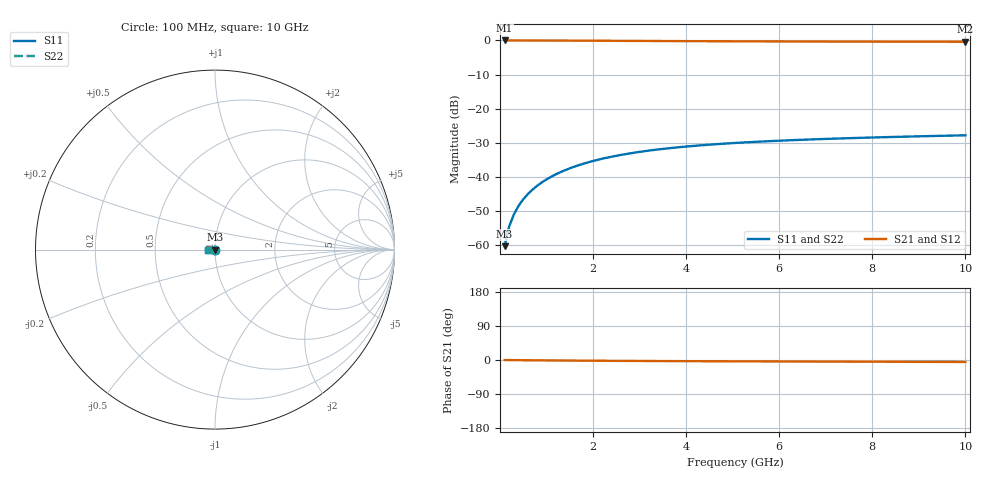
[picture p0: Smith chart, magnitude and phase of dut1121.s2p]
! Touchstone file exported from HFSS 2024.1.0
!  File:  C:/UserFiles/LocalFiles/RDL_TSV_Batchsim/temp_TSV1_1121_1780068973.aedt
!  Generated:  11:41:45 PM May 29, 2026
!  Design:  TSV1
!  Project:  temp_TSV1_1121_1780068973
!  Setup:  Setup1
!  Solution:  Sweep
! Variables:
!  dtsv = 7.46um
!  hbump = 3um
!  htsv = 80.92um
!  lrdl = 252.1521522um
!  p = 40
!  p1 = 40.18um
!  t = 500um
!  trdl = 3um
!  wrdl = 24.89489489um
# GHz S MA R 50.000000
! Terminal data exported
! Port[1] = TSV22_T1
! Port[2] = TSV22_T2
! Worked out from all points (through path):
!   100 points, 100 MHz to 10 GHz, reference 50 ohm
!   highest |S21| = 0.00 dB at 100 MHz (marker M1); lowest = -0.4 dB at 10 GHz (marker M2)
!   lowest |S11| = -60.3 dB at 100 MHz (marker M3), VSWR 1.00, Z = 50 - j0.0938 ohm
!   |S11| at or under -10 dB: start of sweep to end of sweep
!   |S22| runs from -60.3 to -27.8 dB; largest |S21 - S12| = 6.4e-15
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0.1  0.0009668 -75.8  0.9997 -0.1  0.9997 -0.1  0.0009668 -75.8
! Gamma 0 0 0 0
! Port Impedance 50 0 50 0
0.2  0.001897 -85.0  0.9996 -0.2  0.9996 -0.2  0.001897 -85.0
0.3  0.002833 -89.3  0.9995 -0.3  0.9995 -0.3  0.002833 -89.3
0.4  0.003767 -92.2  0.9993 -0.4  0.9993 -0.4  0.003767 -92.2
0.5  0.004695 -94.6  0.999 -0.5  0.999 -0.5  0.004695 -94.6
0.6  0.005616 -96.8  0.9987 -0.6  0.9987 -0.6  0.005616 -96.8
0.7  0.006528 -98.7  0.9984 -0.7  0.9984 -0.7  0.006528 -98.7
0.8  0.00743 -100.6  0.998 -0.8  0.998 -0.8  0.00743 -100.6
0.9  0.008321 -102.4  0.9976 -0.9  0.9976 -0.9  0.008321 -102.4
1.1  0.01006 -105.7  0.9966 -1.1  0.9966 -1.1  0.01006 -105.7
1.4  0.01257 -110.5  0.995 -1.4  0.995 -1.4  0.01257 -110.5
1.6  0.01416 -113.6  0.9937 -1.6  0.9937 -1.6  0.01416 -113.6
1.8  0.01567 -116.5  0.9924 -1.7  0.9924 -1.7  0.01567 -116.5
2.1  0.01781 -120.7  0.9902 -2.0  0.9902 -2.0  0.01781 -120.7
2.5  0.02041 -125.9  0.9873 -2.2  0.9873 -2.2  0.02041 -125.9
2.9  0.02274 -130.7  0.9844 -2.5  0.9844 -2.5  0.02274 -130.7
3.4  0.02527 -136.3  0.981 -2.8  0.981 -2.8  0.02527 -136.3
4.2  0.02863 -144.2  0.9759 -3.1  0.9759 -3.1  0.02863 -144.2
5.1  0.03159 -151.9  0.9711 -3.5  0.9711 -3.5  0.03159 -151.9
6.7  0.03546 -163.1  0.9647 -4.1  0.9647 -4.1  0.03546 -163.1
8.4  0.03846 -172.8  0.96 -4.6  0.96 -4.6  0.03846 -172.8
10  0.04073 179.6  0.9568 -5.1  0.9568 -5.1  0.04074 179.6
